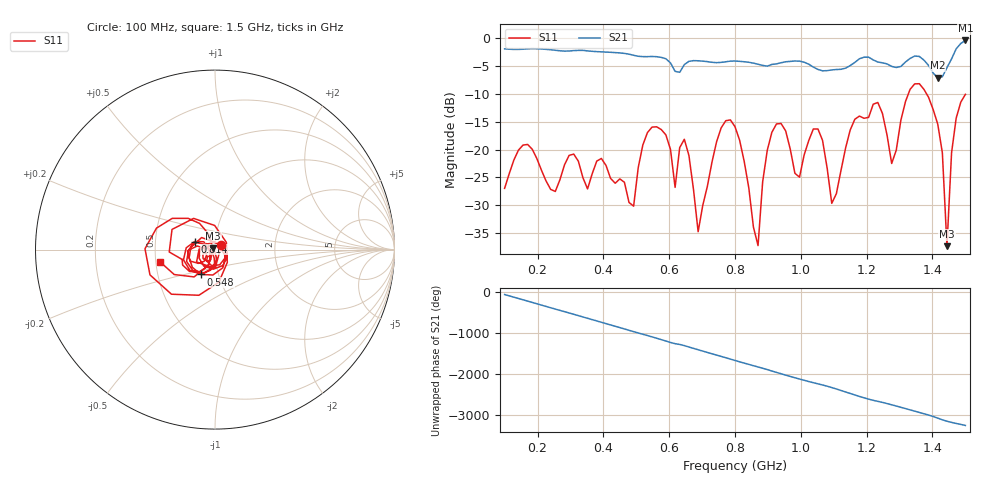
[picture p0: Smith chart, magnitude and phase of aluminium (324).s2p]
! NanoVNA-App
! Date: 2025-09-25 14:57:48
! Start: 100MHz Stop: 1,5GHz Points: 101
! S-Parameter data: F S11 S21 S12 S22
# Hz S RI R 50
!  Frequency  S11_Real  S11_Imag  S21_Real  S21_Imag  S12_Real  S12_Imag  S22_Real  S22_Imag
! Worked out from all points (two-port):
!   101 points, 100 MHz to 1.5 GHz, reference 50 ohm
!   highest |S21| = -0.42 dB at 1.5 GHz (marker M1); lowest = -7.1 dB at 1.416 GHz (marker M2)
!   |S21| within 3 dB of the highest: start of sweep to 571.9 MHz; 1.46 GHz to end of sweep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
!   lowest |S11| = -37.3 dB at 1.444 GHz (marker M3), VSWR 1.03, Z = 48.9 + j0.802 ohm
!   |S11| at or under -10 dB: start of sweep to 1.327 GHz; 1.382 GHz to end of sweep
!   S12 and S22 are empty: the file has one direction only
!   S11 on the Smith chart (normalised r, x): 100 MHz: 1.07, +0.06; 548 MHz: 0.82, -0.23; 814 MHz: 0.79, +0.07; 1.5 GHz: 0.53, -0.08
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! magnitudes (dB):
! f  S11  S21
! 100 MHz  -27.0  -1.9
! 338 MHz  -25.0  -2.2
! 492 MHz  -30.2  -3.1
! 548 MHz  -16.0  -3.3
! 576 MHz  -16.4  -3.5
! 618 MHz  -26.8  -6.0
! 646 MHz  -18.2  -4.8
! 688 MHz  -34.7  -4.1
! 800 MHz  -15.9  -4.1
! 814 MHz  -18.3  -4.2
! 870 MHz  -37.2  -4.7
! 912 MHz  -16.9  -4.7
! 996 MHz  -25.0  -4.1
! 1.038 GHz  -16.3  -5.2
! 1.094 GHz  -29.6  -5.7
! 1.22 GHz  -11.9  -3.9
! 1.276 GHz  -22.5  -5.1
! 1.346 GHz  -8.2  -3.2
! 1.416 GHz  -15.4  -7.1
! 1.444 GHz  -37.3  -5.3
! 1.458 GHz  -20.6  -3.7
! 1.5 GHz  -10.1  -0.4
